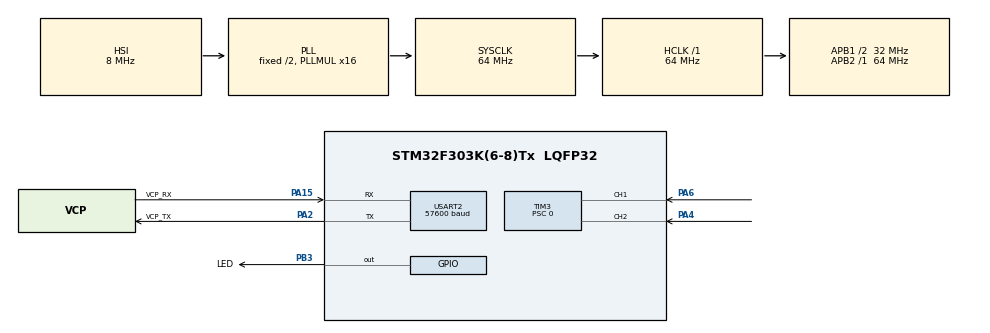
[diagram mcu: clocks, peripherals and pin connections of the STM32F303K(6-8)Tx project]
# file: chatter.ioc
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Dma.Request0=USART2_RX
Dma.Request1=USART2_TX
Dma.USART2_RX.0.Direction=DMA_PERIPH_TO_MEMORY
Dma.USART2_RX.0.Instance=DMA1_Channel6
Dma.USART2_RX.0.MemDataAlignment=DMA_MDATAALIGN_BYTE
Dma.USART2_RX.0.MemInc=DMA_MINC_ENABLE
Dma.USART2_RX.0.Mode=DMA_CIRCULAR
Dma.USART2_RX.0.PeriphDataAlignment=DMA_PDATAALIGN_BYTE
Dma.USART2_RX.0.PeriphInc=DMA_PINC_DISABLE
Dma.USART2_RX.0.Priority=DMA_PRIORITY_HIGH
Dma.USART2_TX.1.Direction=DMA_MEMORY_TO_PERIPH
Dma.USART2_TX.1.Instance=DMA1_Channel7
Dma.USART2_TX.1.MemDataAlignment=DMA_MDATAALIGN_BYTE
Dma.USART2_TX.1.MemInc=DMA_MINC_ENABLE
Dma.USART2_TX.1.Mode=DMA_NORMAL
Dma.USART2_TX.1.PeriphDataAlignment=DMA_PDATAALIGN_BYTE
Dma.USART2_TX.1.PeriphInc=DMA_PINC_DISABLE
Dma.USART2_TX.1.Priority=DMA_PRIORITY_HIGH
Mcu.Family=STM32F3
Mcu.Name=STM32F303K(6-8)Tx
Mcu.Package=LQFP32
NVIC.DMA1_Channel6_IRQn=true\:0\:0\:false\:false\:true\:false\:true
NVIC.DMA1_Channel7_IRQn=true\:0\:0\:false\:false\:true\:false\:true
NVIC.PriorityGroup=NVIC_PRIORITYGROUP_4
NVIC.USART2_IRQn=true\:0\:0\:false\:false\:true\:true\:true
PA13.GPIO_Label=SWDIO
PA13.Signal=SYS_JTMS-SWDIO
PA14.GPIO_Label=SWCLK
PA14.Signal=SYS_JTCK-SWCLK
PA15.GPIO_FM8=SYSCFG_CFGR1_I2C_PB8_FMP
PA15.GPIO_Label=VCP_RX
PA15.Mode=Asynchronous
PA15.Signal=USART2_RX
PA2.GPIO_FM8=SYSCFG_CFGR1_I2C_PB8_FMP
PA2.GPIO_Label=VCP_TX
PA2.Mode=Asynchronous
PA2.Signal=USART2_TX
PA4.Signal=S_TIM3_CH2
PA6.Signal=S_TIM3_CH1
PB3.GPIO_Label=LED
PB3.Signal=GPIO_Output
PF0\ /\ OSC_IN.GPIO_Label=MCO
PF0\ /\ OSC_IN.Signal=RCC_OSC_IN
ProjectManager.HeapSize=0x200
ProjectManager.StackSize=0x400
ProjectManager.TargetToolchain=SW4STM32
RCC.AHBFreq_Value=64000000
RCC.APB1CLKDivider=RCC_HCLK_DIV2
RCC.APB1Freq_Value=32000000
RCC.APB1TimFreq_Value=64000000
RCC.APB2Freq_Value=64000000
RCC.APB2TimFreq_Value=64000000
RCC.CortexFreq_Value=64000000
RCC.HCLKFreq_Value=64000000
RCC.HSE_VALUE=8000000
RCC.HSI_VALUE=8000000
RCC.PLLMUL=RCC_PLL_MUL16
RCC.SYSCLKFreq_VALUE=64000000
RCC.SYSCLKSourceVirtual=RCC_SYSCLKSOURCE_PLLCLK
SH.S_TIM3_CH1.0=TIM3_CH1,Encoder_Interface
SH.S_TIM3_CH2.0=TIM3_CH2,Encoder_Interface
TIM2.Period=0xffffffff
TIM2.Prescaler=64000-1
TIM3.EncoderMode=TIM_ENCODERMODE_TI12
TIM3.Period=65535
TIM3.Prescaler=0
USART2.BaudRate=57600
USART2.DMADisableonRxErrorParam=UART_ADVFEATURE_DMA_DISABLEONRXERROR
USART2.VirtualMode-Asynchronous=VM_ASYNC
USART2.WordLength=WORDLENGTH_8B
VP_TIM2_VS_ClockSourceINT.Mode=Internal
board=NUCLEO-F303K8

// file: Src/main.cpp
/**
  ******************************************************************************
  * File Name          : main.c
  * Description        : Main program body
  ******************************************************************************
  ** This notice applies to any and all portions of this file
  * that are not between comment pairs USER CODE BEGIN and
  * USER CODE END. Other portions of this file, whether
  * inserted by the user or by software development tools
  * are owned by their respective copyright owners.
  *
  * COPYRIGHT(c) 2020 STMicroelectronics
  *
  * Redistribution and use in source and binary forms, with or without modification,
  * are permitted provided that the following conditions are met:
  *   1. Redistributions of source code must retain the above copyright notice,
  *      this list of conditions and the following disclaimer.
  *   2. Redistributions in binary form must reproduce the above copyright notice,
  *      this list of conditions and the following disclaimer in the documentation
  *      and/or other materials provided with the distribution.
  *   3. Neither the name of STMicroelectronics nor the names of its contributors
  *      may be used to endorse or promote products derived from this software
  *      without specific prior written permission.
  *
  * THIS SOFTWARE IS PROVIDED BY THE COPYRIGHT HOLDERS AND CONTRIBUTORS "AS IS"
  * AND ANY EXPRESS OR IMPLIED WARRANTIES, INCLUDING, BUT NOT LIMITED TO, THE
  * IMPLIED WARRANTIES OF MERCHANTABILITY AND FITNESS FOR A PARTICULAR PURPOSE ARE
  * DISCLAIMED. IN NO EVENT SHALL THE COPYRIGHT HOLDER OR CONTRIBUTORS BE LIABLE
  * FOR ANY DIRECT, INDIRECT, INCIDENTAL, SPECIAL, EXEMPLARY, OR CONSEQUENTIAL
  * DAMAGES (INCLUDING, BUT NOT LIMITED TO, PROCUREMENT OF SUBSTITUTE GOODS OR
  * SERVICES; LOSS OF USE, DATA, OR PROFITS; OR BUSINESS INTERRUPTION) HOWEVER
  * CAUSED AND ON ANY THEORY OF LIABILITY, WHETHER IN CONTRACT, STRICT LIABILITY,
  * OR TORT (INCLUDING NEGLIGENCE OR OTHERWISE) ARISING IN ANY WAY OUT OF THE USE
  * OF THIS SOFTWARE, EVEN IF ADVISED OF THE POSSIBILITY OF SUCH DAMAGE.
  *
  ******************************************************************************
  */

#include "main.h"
#include "stm32f3xx_hal.h"

/* USER CODE BEGIN Includes */
#include <ros.h>
#include <std_msgs/Int32.h>
/* USER CODE END Includes */

TIM_HandleTypeDef htim2;
TIM_HandleTypeDef htim3;

UART_HandleTypeDef huart2;
DMA_HandleTypeDef hdma_usart2_rx;
DMA_HandleTypeDef hdma_usart2_tx;

/* USER CODE BEGIN PV */
/* Private variables ---------------------------------------------------------*/

/* USER CODE END PV */

void SystemClock_Config(void);
static void MX_GPIO_Init(void);
static void MX_DMA_Init(void);
static void MX_USART2_UART_Init(void);
static void MX_TIM2_Init(void);
static void MX_TIM3_Init(void);

/* USER CODE BEGIN PFP */
/* Private function prototypes -----------------------------------------------*/

/* USER CODE END PFP */

/* USER CODE BEGIN 0 */
ros::NodeHandle nh;
std_msgs::Int32 enc;
ros::Publisher chatter("chatter", &enc);
/* USER CODE END 0 */

int main(void)
{

  /* MCU Configuration----------------------------------------------------------*/

  /* Reset of all peripherals, Initializes the Flash interface and the Systick. */
  HAL_Init();

  /* Configure the system clock */
  SystemClock_Config();

  /* Initialize all configured peripherals */
  MX_GPIO_Init();
  MX_DMA_Init();
  MX_USART2_UART_Init();
  MX_TIM2_Init();
  MX_TIM3_Init();

  /* USER CODE BEGIN 2 */
  nh.initNode();
  nh.advertise(chatter);
  HAL_TIM_Encoder_Start(&htim3,TIM_CHANNEL_ALL);
  int cnt=0;
  /* USER CODE END 2 */

  /* Infinite loop */
  /* USER CODE BEGIN WHILE */
  while (1)
  {
	cnt = TIM3 -> CNT;
	HAL_GPIO_TogglePin(GPIOB, GPIO_PIN_3);
	enc.data=TIM3 -> CNT;
	chatter.publish(&enc);
	nh.spinOnce();
	HAL_Delay(100);
  /* USER CODE END WHILE */

  }

}

/** System Clock Configuration
*/
void SystemClock_Config(void)
{

  RCC_OscInitTypeDef RCC_OscInitStruct;
  RCC_ClkInitTypeDef RCC_ClkInitStruct;

    /**Initializes the CPU, AHB and APB busses clocks
    */
  RCC_OscInitStruct.OscillatorType = RCC_OSCILLATORTYPE_HSI;
  RCC_OscInitStruct.HSIState = RCC_HSI_ON;
  RCC_OscInitStruct.HSICalibrationValue = 16;
  RCC_OscInitStruct.PLL.PLLState = RCC_PLL_ON;
  RCC_OscInitStruct.PLL.PLLSource = RCC_PLLSOURCE_HSI;
  RCC_OscInitStruct.PLL.PLLMUL = RCC_PLL_MUL16;
  if (HAL_RCC_OscConfig(&RCC_OscInitStruct) != HAL_OK)
  {
    _Error_Handler(__FILE__, __LINE__);
  }

    /**Initializes the CPU, AHB and APB busses clocks
    */
  RCC_ClkInitStruct.ClockType = RCC_CLOCKTYPE_HCLK|RCC_CLOCKTYPE_SYSCLK
                              |RCC_CLOCKTYPE_PCLK1|RCC_CLOCKTYPE_PCLK2;
  RCC_ClkInitStruct.SYSCLKSource = RCC_SYSCLKSOURCE_PLLCLK;
  RCC_ClkInitStruct.AHBCLKDivider = RCC_SYSCLK_DIV1;
  RCC_ClkInitStruct.APB1CLKDivider = RCC_HCLK_DIV2;
  RCC_ClkInitStruct.APB2CLKDivider = RCC_HCLK_DIV1;

  if (HAL_RCC_ClockConfig(&RCC_ClkInitStruct, FLASH_LATENCY_2) != HAL_OK)
  {
    _Error_Handler(__FILE__, __LINE__);
  }

    /**Configure the Systick interrupt time
    */
  HAL_SYSTICK_Config(HAL_RCC_GetHCLKFreq()/1000);

    /**Configure the Systick
    */
  HAL_SYSTICK_CLKSourceConfig(SYSTICK_CLKSOURCE_HCLK);

  /* SysTick_IRQn interrupt configuration */
  HAL_NVIC_SetPriority(SysTick_IRQn, 0, 0);
}

/* TIM2 init function */
static void MX_TIM2_Init(void)
{

  TIM_ClockConfigTypeDef sClockSourceConfig;
  TIM_MasterConfigTypeDef sMasterConfig;

  htim2.Instance = TIM2;
  htim2.Init.Prescaler = 64000-1;
  htim2.Init.CounterMode = TIM_COUNTERMODE_UP;
  htim2.Init.Period = 0xffffffff;
  htim2.Init.ClockDivision = TIM_CLOCKDIVISION_DIV1;
  htim2.Init.AutoReloadPreload = TIM_AUTORELOAD_PRELOAD_DISABLE;
  if (HAL_TIM_Base_Init(&htim2) != HAL_OK)
  {
    _Error_Handler(__FILE__, __LINE__);
  }

  sClockSourceConfig.ClockSource = TIM_CLOCKSOURCE_INTERNAL;
  if (HAL_TIM_ConfigClockSource(&htim2, &sClockSourceConfig) != HAL_OK)
  {
    _Error_Handler(__FILE__, __LINE__);
  }

  sMasterConfig.MasterOutputTrigger = TIM_TRGO_RESET;
  sMasterConfig.MasterSlaveMode = TIM_MASTERSLAVEMODE_DISABLE;
  if (HAL_TIMEx_MasterConfigSynchronization(&htim2, &sMasterConfig) != HAL_OK)
  {
    _Error_Handler(__FILE__, __LINE__);
  }

}

/* TIM3 init function */
static void MX_TIM3_Init(void)
{

  TIM_Encoder_InitTypeDef sConfig;
  TIM_MasterConfigTypeDef sMasterConfig;

  htim3.Instance = TIM3;
  htim3.Init.Prescaler = 0;
  htim3.Init.CounterMode = TIM_COUNTERMODE_UP;
  htim3.Init.Period = 65535;
  htim3.Init.ClockDivision = TIM_CLOCKDIVISION_DIV1;
  htim3.Init.AutoReloadPreload = TIM_AUTORELOAD_PRELOAD_DISABLE;
  sConfig.EncoderMode = TIM_ENCODERMODE_TI12;
  sConfig.IC1Polarity = TIM_ICPOLARITY_RISING;
  sConfig.IC1Selection = TIM_ICSELECTION_DIRECTTI;
  sConfig.IC1Prescaler = TIM_ICPSC_DIV1;
  sConfig.IC1Filter = 0;
  sConfig.IC2Polarity = TIM_ICPOLARITY_RISING;
  sConfig.IC2Selection = TIM_ICSELECTION_DIRECTTI;
  sConfig.IC2Prescaler = TIM_ICPSC_DIV1;
  sConfig.IC2Filter = 0;
  if (HAL_TIM_Encoder_Init(&htim3, &sConfig) != HAL_OK)
  {
    _Error_Handler(__FILE__, __LINE__);
  }

  sMasterConfig.MasterOutputTrigger = TIM_TRGO_RESET;
  sMasterConfig.MasterSlaveMode = TIM_MASTERSLAVEMODE_DISABLE;
  if (HAL_TIMEx_MasterConfigSynchronization(&htim3, &sMasterConfig) != HAL_OK)
  {
    _Error_Handler(__FILE__, __LINE__);
  }

}

/* USART2 init function */
static void MX_USART2_UART_Init(void)
{

  huart2.Instance = USART2;
  huart2.Init.BaudRate = 57600;
  huart2.Init.WordLength = UART_WORDLENGTH_8B;
  huart2.Init.StopBits = UART_STOPBITS_1;
  huart2.Init.Parity = UART_PARITY_NONE;
  huart2.Init.Mode = UART_MODE_TX_RX;
  huart2.Init.HwFlowCtl = UART_HWCONTROL_NONE;
  huart2.Init.OverSampling = UART_OVERSAMPLING_16;
  huart2.Init.OneBitSampling = UART_ONE_BIT_SAMPLE_DISABLE;
  huart2.AdvancedInit.AdvFeatureInit = UART_ADVFEATURE_DMADISABLEONERROR_INIT;
  huart2.AdvancedInit.DMADisableonRxError = UART_ADVFEATURE_DMA_DISABLEONRXERROR;
  if (HAL_UART_Init(&huart2) != HAL_OK)
  {
    _Error_Handler(__FILE__, __LINE__);
  }

}

static void MX_DMA_Init(void)
{
  /* DMA controller clock enable */
  __HAL_RCC_DMA1_CLK_ENABLE();

  /* DMA interrupt init */
  /* DMA1_Channel6_IRQn interrupt configuration */
  HAL_NVIC_SetPriority(DMA1_Channel6_IRQn, 0, 0);
  HAL_NVIC_EnableIRQ(DMA1_Channel6_IRQn);
  /* DMA1_Channel7_IRQn interrupt configuration */
  HAL_NVIC_SetPriority(DMA1_Channel7_IRQn, 0, 0);
  HAL_NVIC_EnableIRQ(DMA1_Channel7_IRQn);

}

/** Configure pins as
        * Analog
        * Input
        * Output
        * EVENT_OUT
        * EXTI
*/
static void MX_GPIO_Init(void)
{

  GPIO_InitTypeDef GPIO_InitStruct;

  /* GPIO Ports Clock Enable */
  __HAL_RCC_GPIOF_CLK_ENABLE();
  __HAL_RCC_GPIOA_CLK_ENABLE();
  __HAL_RCC_GPIOB_CLK_ENABLE();

  /*Configure GPIO pin Output Level */
  HAL_GPIO_WritePin(LED_GPIO_Port, LED_Pin, GPIO_PIN_RESET);

  /*Configure GPIO pin : LED_Pin */
  GPIO_InitStruct.Pin = LED_Pin;
  GPIO_InitStruct.Mode = GPIO_MODE_OUTPUT_PP;
  GPIO_InitStruct.Pull = GPIO_NOPULL;
  GPIO_InitStruct.Speed = GPIO_SPEED_FREQ_LOW;
  HAL_GPIO_Init(LED_GPIO_Port, &GPIO_InitStruct);

}

/* USER CODE BEGIN 4 */
void HAL_UART_TxCpltCallback(UART_HandleTypeDef *huart){
  nh.getHardware()->flush();
}

void HAL_UART_RxCpltCallback(UART_HandleTypeDef *huart){
  nh.getHardware()->reset_rbuf();
}
/* USER CODE END 4 */

void _Error_Handler(char * file, int line)
{
  while(1)
  {
  }
}

/************************ (C) COPYRIGHT STMicroelectronics *****END OF FILE****/
